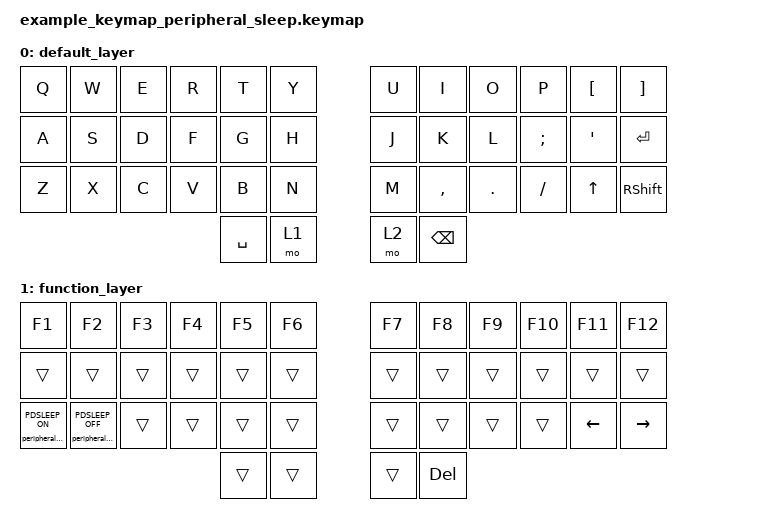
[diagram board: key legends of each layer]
/*
 * 外设深度睡眠控制键映射示例
 * 实现主键盘控制从键盘深度休眠/唤醒
 */

#include <behaviors.dtsi>
#include <dt-bindings/zmk/keys.h>
#include <dt-bindings/zmk/peripheral_sleep.h>

/ {

    keymap {
        compatible = "zmk,keymap";

        default_layer {
            // ┌───┬───┬───┬───┬───┬───┐       ┌───┬───┬───┬───┬───┬───┐
            // │ Q │ W │ E │ R │ T │ Y │       │ U │ I │ O │ P │ [ │ ] │
            // ├───┼───┼───┼───┼───┼───┤       ├───┼───┼───┼───┼───┼───┤
            // │ A │ S │ D │ F │ G │ H │       │ J │ K │ L │ ; │ ' │ENT│
            // ├───┼───┼───┼───┼───┼───┤       ├───┼───┼───┼───┼───┼───┤
            // │ Z │ X │ C │ V │ B │ N │       │ M │ , │ . │ / │UP │SFT│
            // └───┴───┴───┴───┴───┴───┘       └───┴───┴───┴───┴───┴───┘
            //                 ┌───┬───┐       ┌───┬───┐
            //                 │SPC│FN │       │FN2│BSP│
            //                 └───┴───┘       └───┴───┘
            bindings = <
                &kp Q    &kp W    &kp E    &kp R    &kp T    &kp Y        &kp U    &kp I    &kp O    &kp P    &kp LBKT &kp RBKT
                &kp A    &kp S    &kp D    &kp F    &kp G    &kp H        &kp J    &kp K    &kp L    &kp SEMI &kp SQT  &kp ENTER
                &kp Z    &kp X    &kp C    &kp V    &kp B    &kp N        &kp M    &kp COMMA &kp DOT &kp FSLH &kp UP   &kp RSHFT
                                           &kp SPACE &mo 1                  &mo 2    &kp BSPC
            >;
        };

        function_layer {
            // 功能层 - 包含外设深度睡眠控制
            bindings = <
                &kp F1   &kp F2   &kp F3   &kp F4   &kp F5   &kp F6       &kp F7   &kp F8   &kp F9   &kp F10  &kp F11  &kp F12
                &trans   &trans   &trans   &trans   &trans   &trans       &trans   &trans   &trans   &trans   &trans   &trans
                // 外设深度睡眠控制键
                &peripheral_sleep PDSLEEP_ON  &peripheral_sleep PDSLEEP_OFF  &trans   &trans   &trans   &trans       &trans   &trans   &trans   &trans   &kp LEFT &kp RIGHT
                                           &trans   &trans                  &trans   &kp DEL
            >;
        };
    };
};

/*
 * 使用说明:
 * 
 * 外设深度睡眠控制 (function_layer):
 * - Z键位置: 让从键盘进入深度睡眠模式
 *   * 关闭显示屏 (OLED/LCD)
 *   * 关闭RGB背光
 *   * 关闭键盘背光  
 *   * 保持最小BLE连接
 *   * 保持键盘扫描功能
 * 
 * - X键位置: 从深度睡眠中唤醒从键盘
 *   * 恢复所有外设功能
 *   * 恢复正常工作状态
 * 
 * 操作方法:
 * 1. 按住FN键 + Z: 从键盘进入深度睡眠
 * 2. 按住FN键 + X: 从键盘唤醒  
 * 3. 或按从键盘上的任意按键也可以唤醒
 * 
 * 注意事项:
 * - 此功能只在从键盘（外设）上生效
 * - 主键盘按相同按键不会影响自身状态
 * - 深度睡眠期间从键盘仍可接收主键盘命令
 * - BLE连接始终保持，不会断开重连
 */ 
